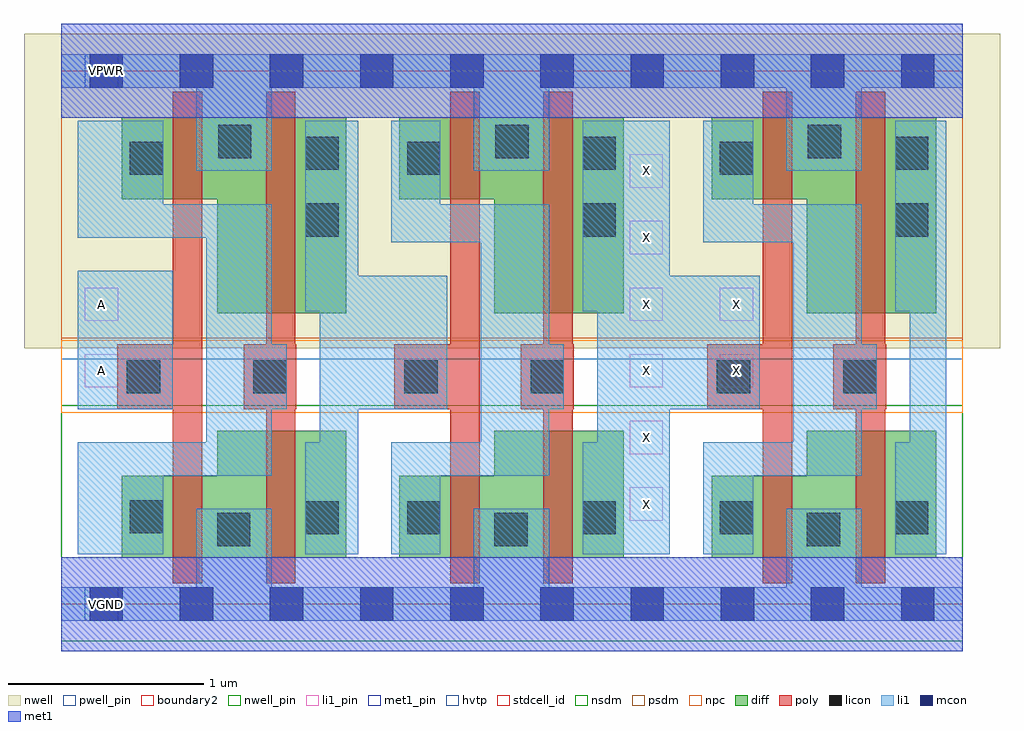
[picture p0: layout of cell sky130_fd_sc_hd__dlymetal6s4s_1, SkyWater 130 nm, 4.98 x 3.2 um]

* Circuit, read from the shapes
.subckt sky130_fd_sc_hd__dlymetal6s4s_1 A VGND VNB VPB VPWR X
XM1 VGND A n1 VNB sky130_fd_pr__nfet_01v8 w=0.42 l=0.15
XM2 n2 n1 VGND VNB sky130_fd_pr__nfet_01v8 w=0.65 l=0.15
XM3 VGND n2 n3 VNB sky130_fd_pr__nfet_01v8 w=0.42 l=0.15
XM4 X n3 VGND VNB sky130_fd_pr__nfet_01v8 w=0.65 l=0.15
XM5 VGND X n4 VNB sky130_fd_pr__nfet_01v8 w=0.42 l=0.15
XM6 n5 n4 VGND VNB sky130_fd_pr__nfet_01v8 w=0.65 l=0.15
XM7 VPWR A n1 VPB sky130_fd_pr__pfet_01v8_hvt w=0.42 l=0.15
XM8 n2 n1 VPWR VPB sky130_fd_pr__pfet_01v8_hvt w=1 l=0.15
XM9 VPWR n2 n3 VPB sky130_fd_pr__pfet_01v8_hvt w=0.42 l=0.15
XM10 X n3 VPWR VPB sky130_fd_pr__pfet_01v8_hvt w=1 l=0.15
XM11 VPWR X n4 VPB sky130_fd_pr__pfet_01v8_hvt w=0.42 l=0.15
XM12 n5 n4 VPWR VPB sky130_fd_pr__pfet_01v8_hvt w=1 l=0.15
.ends

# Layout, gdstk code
import gdstk
lib = gdstk.Library(unit=1e-6, precision=1e-09)
def R(c, l, rs):  # rectangles x0, y0, x1, y1
    for r in rs: c.add(gdstk.rectangle(r[:2], r[2:], *l))
def A(c, l, x, y, w, h, nx, ny, dx, dy):  # array of equal rectangles
    R(c, l, [(x+i*dx, y+j*dy, x+i*dx+w, y+j*dy+h) for i in range(nx) for j in range(ny)])
def P(c, l, *ps):  # polygons
    for p in ps: c.add(gdstk.Polygon(p, *l))
nwell_pin = (64, 16)
nwell = (64, 20)
diff = (65, 20)
poly = (66, 20)
licon = (66, 44)
li1_pin = (67, 16)
li1 = (67, 20)
mcon = (67, 44)
met1_pin = (68, 16)
met1 = (68, 20)
hvtp = (78, 44)
stdcell_id = (81, 4)
nsdm = (93, 44)
psdm = (94, 20)
npc = (95, 20)
pwell_pin = (122, 16)
boundary2 = (236, 0)

sky130_fd_sc_hd__dlymeta = lib.new_cell('sky130_fd_sc_hd__dlymetal6s4s_1')
R(sky130_fd_sc_hd__dlymeta, nwell_pin, [(0.12,2.635,0.29,2.805)])
R(sky130_fd_sc_hd__dlymeta, nwell, [(-0.19,1.305,4.79,2.91)])
P(sky130_fd_sc_hd__dlymeta, diff, [(4.465,0.885),(3.805,0.885),(3.805,0.655),(3.32,0.655),(3.32,0.235),(4.465,0.235)],
  [(4.465,2.485),(3.32,2.485),(3.32,2.065),(3.805,2.065),(3.805,1.485),(4.465,1.485)],
  [(2.87,0.885),(2.21,0.885),(2.21,0.655),(1.725,0.655),(1.725,0.235),(2.87,0.235)],
  [(2.87,2.485),(1.725,2.485),(1.725,2.065),(2.21,2.065),(2.21,1.485),(2.87,1.485)],
  [(1.455,0.885),(0.795,0.885),(0.795,0.655),(0.31,0.655),(0.31,0.235),(1.455,0.235)],
  [(1.455,2.485),(0.31,2.485),(0.31,2.065),(0.795,2.065),(0.795,1.485),(1.455,1.485)])
P(sky130_fd_sc_hd__dlymeta, poly, [(4.21,1.325),(4.205,1.325),(4.205,2.615),(4.055,2.615),(4.055,1.325),(3.94,1.325),(3.94,0.995),(4.055,0.995),(4.055,0.105),(4.205,0.105),(4.205,0.995),(4.21,0.995)],
  [(3.73,2.615),(3.58,2.615),(3.58,1.325),(3.295,1.325),(3.295,0.995),(3.58,0.995),(3.58,0.105),(3.73,0.105)],
  [(2.615,1.325),(2.61,1.325),(2.61,2.615),(2.46,2.615),(2.46,1.325),(2.345,1.325),(2.345,0.995),(2.46,0.995),(2.46,0.105),(2.61,0.105),(2.61,0.995),(2.615,0.995)],
  [(2.135,2.615),(1.985,2.615),(1.985,1.325),(1.7,1.325),(1.7,0.995),(1.985,0.995),(1.985,0.105),(2.135,0.105)],
  [(1.2,1.325),(1.195,1.325),(1.195,2.615),(1.045,2.615),(1.045,1.325),(0.93,1.325),(0.93,0.995),(1.045,0.995),(1.045,0.105),(1.195,0.105),(1.195,0.995),(1.2,0.995)],
  [(0.72,2.615),(0.57,2.615),(0.57,1.325),(0.285,1.325),(0.285,0.995),(0.57,0.995),(0.57,0.105),(0.72,0.105)])
R(sky130_fd_sc_hd__dlymeta, licon, [(0.795,0.295,0.965,0.465), (2.21,0.295,2.38,0.465), (3.805,0.295,3.975,0.465), (1.245,0.355,1.415,0.525), (1.765,0.355,1.935,0.525), (2.66,0.355,2.83,0.525), (3.36,0.355,3.53,0.525), (4.255,0.355,4.425,0.525), (0.35,0.36,0.52,0.53), (0.335,1.075,0.505,1.245), (0.98,1.075,1.15,1.245), (1.75,1.075,1.92,1.245), (2.395,1.075,2.565,1.245), (3.345,1.075,3.515,1.245), (3.99,1.075,4.16,1.245), (1.245,1.875,1.415,2.045), (2.66,1.875,2.83,2.045), (4.255,1.875,4.425,2.045), (0.35,2.19,0.52,2.36), (1.765,2.19,1.935,2.36), (3.36,2.19,3.53,2.36), (1.245,2.215,1.415,2.385), (2.66,2.215,2.83,2.385), (4.255,2.215,4.425,2.385), (0.8,2.275,0.97,2.445), (2.215,2.275,2.385,2.445), (3.81,2.275,3.98,2.445)])
A(sky130_fd_sc_hd__dlymeta, li1_pin, 2.9, 0.425, 0.17, 0.17, 1, 6, 0, 0.34)
R(sky130_fd_sc_hd__dlymeta, li1_pin, [(0.12,1.105,0.29,1.275), (3.36,1.105,3.53,1.275), (0.12,1.445,0.29,1.615), (3.36,1.445,3.53,1.615)])
R(sky130_fd_sc_hd__dlymeta, li1, [(0.085,0.995,0.57,1.7)])
P(sky130_fd_sc_hd__dlymeta, li1, [(4.6,2.805),(0,2.805),(0,2.635),(0.69,2.635),(0.69,2.21),(1.075,2.21),(1.075,2.635),(2.105,2.635),(2.105,2.21),(2.49,2.21),(2.49,2.635),(3.7,2.635),(3.7,2.21),(4.085,2.21),(4.085,2.635),(4.6,2.635)],
  [(4.6,0.085),(4.085,0.085),(4.085,0.485),(3.7,0.485),(3.7,0.085),(2.49,0.085),(2.49,0.485),(2.105,0.485),(2.105,0.085),(1.075,0.085),(1.075,0.485),(0.69,0.485),(0.69,0.085),(0,0.085),(0,-0.085),(4.6,-0.085)],
  [(4.515,2.465),(4.255,2.465),(4.255,1.495),(4.33,1.495),(4.33,0.825),(4.255,0.825),(4.255,0.255),(4.515,0.255)],
  [(4.16,1.325),(4.085,1.325),(4.085,2.04),(3.53,2.04),(3.53,2.465),(3.275,2.465),(3.275,1.845),(3.735,1.845),(3.735,0.825),(3.275,0.825),(3.275,0.255),(3.53,0.255),(3.53,0.655),(4.085,0.655),(4.085,0.995),(4.16,0.995)],
  [(3.565,1.675),(3.105,1.675),(3.105,2.465),(2.66,2.465),(2.66,1.495),(2.735,1.495),(2.735,0.825),(2.66,0.825),(2.66,0.255),(3.105,0.255),(3.105,0.995),(3.565,0.995)],
  [(2.565,1.325),(2.49,1.325),(2.49,2.04),(1.935,2.04),(1.935,2.465),(1.685,2.465),(1.685,1.845),(2.14,1.845),(2.14,0.825),(1.685,0.825),(1.685,0.255),(1.935,0.255),(1.935,0.655),(2.49,0.655),(2.49,0.995),(2.565,0.995)],
  [(1.97,1.675),(1.515,1.675),(1.515,2.465),(1.245,2.465),(1.245,1.495),(1.32,1.495),(1.32,0.825),(1.245,0.825),(1.245,0.255),(1.515,0.255),(1.515,0.995),(1.97,0.995)],
  [(1.15,1.325),(1.075,1.325),(1.075,2.04),(0.52,2.04),(0.52,2.465),(0.085,2.465),(0.085,1.87),(0.74,1.87),(0.74,0.825),(0.085,0.825),(0.085,0.255),(0.52,0.255),(0.52,0.655),(1.075,0.655),(1.075,0.995),(1.15,0.995)])
A(sky130_fd_sc_hd__dlymeta, mcon, 0.145, -0.085, 0.17, 0.17, 10, 2, 0.46, 2.72)
R(sky130_fd_sc_hd__dlymeta, met1_pin, [(0.12,-0.085,0.29,0.085), (0.12,2.635,0.29,2.805)])
R(sky130_fd_sc_hd__dlymeta, hvtp, [(0,1.25,4.6,2.72)])
R(sky130_fd_sc_hd__dlymeta, stdcell_id, [(0,0,4.6,2.72)])
R(sky130_fd_sc_hd__dlymeta, nsdm, [(0,-0.19,4.6,1.015)])
R(sky130_fd_sc_hd__dlymeta, psdm, [(0,1.355,4.6,2.91)])
R(sky130_fd_sc_hd__dlymeta, npc, [(0,0.975,4.6,1.345)])
R(sky130_fd_sc_hd__dlymeta, pwell_pin, [(0.12,-0.085,0.29,0.085)])
R(sky130_fd_sc_hd__dlymeta, boundary2, [(0,0,4.6,2.72)])
sky130_fd_sc_hd__dlymeta.add(gdstk.FlexPath([(0,0),(4.6,0)], 0.48, ends="flush", simple_path=True, layer=68, datatype=20))  # met1
sky130_fd_sc_hd__dlymeta.add(gdstk.FlexPath([(0,2.72),(4.6,2.72)], 0.48, ends="flush", simple_path=True, layer=68, datatype=20))  # met1
sky130_fd_sc_hd__dlymeta.add(gdstk.Label('VPWR', (0.23,2.72), layer=68, texttype=5))
sky130_fd_sc_hd__dlymeta.add(gdstk.Label('VGND', (0.23,0), layer=68, texttype=5))
sky130_fd_sc_hd__dlymeta.add(gdstk.Label('VPB', (0.23,2.72), layer=64, texttype=5))
sky130_fd_sc_hd__dlymeta.add(gdstk.Label('VNB', (0.23,0), layer=64, texttype=59))
sky130_fd_sc_hd__dlymeta.add(gdstk.Label('A', (0.205,1.19), layer=67, texttype=5))
sky130_fd_sc_hd__dlymeta.add(gdstk.Label('X', (2.985,1.53), layer=67, texttype=5))
sky130_fd_sc_hd__dlymeta.add(gdstk.Label('A', (0.205,1.53), layer=67, texttype=5))
sky130_fd_sc_hd__dlymeta.add(gdstk.Label('X', (2.985,1.87), layer=67, texttype=5))
sky130_fd_sc_hd__dlymeta.add(gdstk.Label('X', (2.985,2.21), layer=67, texttype=5))
sky130_fd_sc_hd__dlymeta.add(gdstk.Label('X', (2.985,1.19), layer=67, texttype=5))
sky130_fd_sc_hd__dlymeta.add(gdstk.Label('X', (2.985,0.85), layer=67, texttype=5))
sky130_fd_sc_hd__dlymeta.add(gdstk.Label('X', (2.985,0.51), layer=67, texttype=5))
sky130_fd_sc_hd__dlymeta.add(gdstk.Label('X', (3.445,1.19), layer=67, texttype=5))
sky130_fd_sc_hd__dlymeta.add(gdstk.Label('X', (3.445,1.53), layer=67, texttype=5))
sky130_fd_sc_hd__dlymeta.add(gdstk.Label('dlymetal6s4s_1', (0,0), layer=83, texttype=44))

lib.write_gds('sky130_fd_sc_hd__dlymetal6s4s_1.gds')
